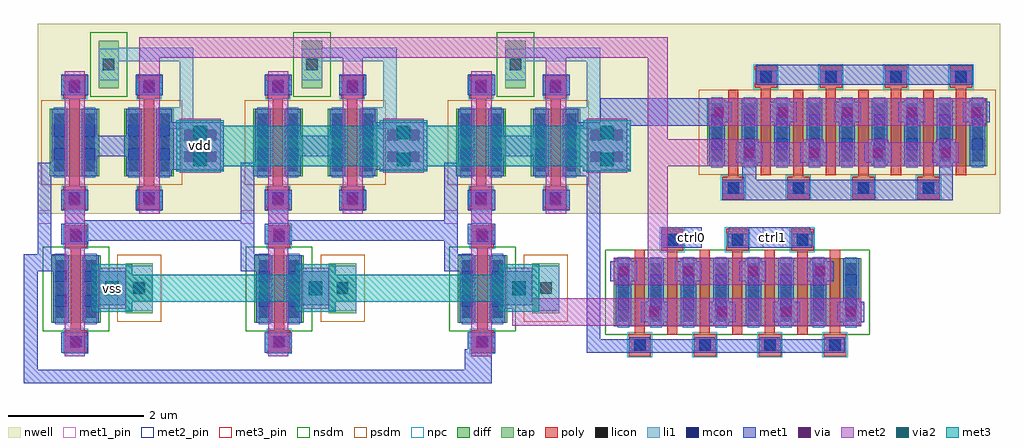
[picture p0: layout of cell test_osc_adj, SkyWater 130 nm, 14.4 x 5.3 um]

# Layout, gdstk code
import gdstk
lib = gdstk.Library(unit=1e-6, precision=1e-09)
def R(c, l, rs):  # rectangles x0, y0, x1, y1
    for r in rs: c.add(gdstk.rectangle(r[:2], r[2:], *l))
def A(c, l, x, y, w, h, nx, ny, dx, dy):  # array of equal rectangles
    R(c, l, [(x+i*dx, y+j*dy, x+i*dx+w, y+j*dy+h) for i in range(nx) for j in range(ny)])
nwell = (64, 20)
diff = (65, 20)
tap = (65, 44)
poly = (66, 20)
licon = (66, 44)
li1 = (67, 20)
mcon = (67, 44)
met1_pin = (68, 16)
met1 = (68, 20)
via = (68, 44)
met2_pin = (69, 16)
met2 = (69, 20)
via2 = (69, 44)
met3_pin = (70, 16)
met3 = (70, 20)
nsdm = (93, 44)
psdm = (94, 20)
npc = (95, 20)

sky130_fd_pr__pfet_01v8_ = lib.new_cell('sky130_fd_pr__pfet_01v8_RXQGT8')
R(sky130_fd_pr__pfet_01v8_, nwell, [(-2.245,-1,1.765,-0.81), (-2.245,-0.81,2.245,0.81), (-1.765,0.81,2.245,1)])
R(sky130_fd_pr__pfet_01v8_, diff, [(-2.065,-0.5,2.065,0.5)])
A(sky130_fd_pr__pfet_01v8_, poly, -1.845, -0.985, 0.33, 0.33, 4, 1, 0.96, 0)
A(sky130_fd_pr__pfet_01v8_, poly, -1.755, -0.655, 0.15, 1.285, 4, 1, 0.96, 0)
A(sky130_fd_pr__pfet_01v8_, poly, -1.275, -0.63, 0.15, 1.285, 4, 1, 0.96, 0)
A(sky130_fd_pr__pfet_01v8_, poly, -1.365, 0.655, 0.33, 0.33, 4, 1, 0.96, 0)
A(sky130_fd_pr__pfet_01v8_, licon, -1.765, -0.905, 0.17, 0.17, 4, 1, 0.96, 0)
A(sky130_fd_pr__pfet_01v8_, licon, -2.005, -0.425, 0.17, 0.17, 9, 3, 0.48, 0.34)
A(sky130_fd_pr__pfet_01v8_, licon, -1.285, 0.735, 0.17, 0.17, 4, 1, 0.96, 0)
A(sky130_fd_pr__pfet_01v8_, li1, -1.845, -0.905, 0.33, 0.17, 4, 1, 0.96, 0)
A(sky130_fd_pr__pfet_01v8_, li1, -2.005, -0.52, 0.17, 1.04, 9, 1, 0.48, 0)
A(sky130_fd_pr__pfet_01v8_, li1, -1.365, 0.735, 0.33, 0.17, 4, 1, 0.96, 0)
A(sky130_fd_pr__pfet_01v8_, mcon, -1.765, -0.905, 0.17, 0.17, 4, 1, 0.96, 0)
A(sky130_fd_pr__pfet_01v8_, mcon, -2.005, -0.265, 0.17, 0.17, 9, 2, 0.48, 0.36)
A(sky130_fd_pr__pfet_01v8_, mcon, -1.285, 0.735, 0.17, 0.17, 4, 1, 0.96, 0)
A(sky130_fd_pr__pfet_01v8_, met1, -1.825, -0.935, 0.29, 0.23, 4, 1, 0.96, 0)
A(sky130_fd_pr__pfet_01v8_, met1, -2.035, -0.5, 0.23, 1, 9, 1, 0.48, 0)
A(sky130_fd_pr__pfet_01v8_, met1, -1.345, 0.705, 0.29, 0.23, 4, 1, 0.96, 0)
R(sky130_fd_pr__pfet_01v8_, psdm, [(-2.19,-0.625,2.19,0.625)])
A(sky130_fd_pr__pfet_01v8_, npc, -1.865, -1.005, 0.37, 0.37, 4, 1, 0.96, 0)
A(sky130_fd_pr__pfet_01v8_, npc, -1.385, 0.635, 0.37, 0.37, 4, 1, 0.96, 0)

sky130_fd_pr__nfet_01v8_ = lib.new_cell('sky130_fd_pr__nfet_01v8_PE32AP')
R(sky130_fd_pr__nfet_01v8_, diff, [(-1.825,-0.5,1.825,0.5)])
A(sky130_fd_pr__nfet_01v8_, poly, -1.605, -0.94, 0.33, 0.33, 4, 1, 0.96, 0)
A(sky130_fd_pr__nfet_01v8_, poly, -1.035, -0.63, 0.15, 1.24, 3, 1, 0.96, 0)
A(sky130_fd_pr__nfet_01v8_, poly, -1.515, -0.61, 0.15, 1.24, 4, 1, 0.96, 0)
A(sky130_fd_pr__nfet_01v8_, poly, -1.125, 0.61, 0.33, 0.33, 3, 1, 0.96, 0)
A(sky130_fd_pr__nfet_01v8_, licon, -1.525, -0.86, 0.17, 0.17, 4, 1, 0.96, 0)
A(sky130_fd_pr__nfet_01v8_, licon, -1.765, -0.425, 0.17, 0.17, 8, 3, 0.48, 0.34)
A(sky130_fd_pr__nfet_01v8_, licon, -1.045, 0.69, 0.17, 0.17, 3, 1, 0.96, 0)
A(sky130_fd_pr__nfet_01v8_, li1, -1.605, -0.86, 0.33, 0.17, 4, 1, 0.96, 0)
A(sky130_fd_pr__nfet_01v8_, li1, -1.765, -0.52, 0.17, 1.04, 8, 1, 0.48, 0)
A(sky130_fd_pr__nfet_01v8_, li1, -1.125, 0.69, 0.33, 0.17, 3, 1, 0.96, 0)
A(sky130_fd_pr__nfet_01v8_, mcon, -1.525, -0.86, 0.17, 0.17, 4, 1, 0.96, 0)
A(sky130_fd_pr__nfet_01v8_, mcon, -1.765, -0.265, 0.17, 0.17, 8, 2, 0.48, 0.36)
A(sky130_fd_pr__nfet_01v8_, mcon, -1.045, 0.69, 0.17, 0.17, 3, 1, 0.96, 0)
A(sky130_fd_pr__nfet_01v8_, met1, -1.585, -0.89, 0.29, 0.23, 4, 1, 0.96, 0)
A(sky130_fd_pr__nfet_01v8_, met1, -1.795, -0.5, 0.23, 1, 8, 1, 0.48, 0)
A(sky130_fd_pr__nfet_01v8_, met1, -1.105, 0.66, 0.29, 0.23, 3, 1, 0.96, 0)
R(sky130_fd_pr__nfet_01v8_, nsdm, [(-1.95,-0.625,1.95,0.625)])
A(sky130_fd_pr__nfet_01v8_, npc, -1.625, -0.96, 0.37, 0.37, 4, 1, 0.96, 0)
A(sky130_fd_pr__nfet_01v8_, npc, -1.145, 0.59, 0.37, 0.37, 3, 1, 0.96, 0)

c_sky130_fd_pr__nfet_01v8_ = lib.new_cell('sky130_fd_pr__nfet_01v8_DM32AP')
R(c_sky130_fd_pr__nfet_01v8_, diff, [(-0.365,-0.5,0.365,0.5)])
R(c_sky130_fd_pr__nfet_01v8_, poly, [(-0.165,-0.94,0.165,-0.61), (-0.075,-0.61,0.075,0.61), (-0.165,0.61,0.165,0.94)])
A(c_sky130_fd_pr__nfet_01v8_, licon, -0.305, -0.425, 0.17, 0.17, 1, 3, 0, 0.34)
A(c_sky130_fd_pr__nfet_01v8_, licon, 0.135, -0.425, 0.17, 0.17, 1, 3, 0, 0.34)
R(c_sky130_fd_pr__nfet_01v8_, licon, [(-0.085,-0.86,0.085,-0.69), (-0.085,0.69,0.085,0.86)])
R(c_sky130_fd_pr__nfet_01v8_, li1, [(-0.165,-0.86,0.165,-0.69), (-0.305,-0.52,-0.135,0.52), (0.135,-0.52,0.305,0.52), (-0.165,0.69,0.165,0.86)])
R(c_sky130_fd_pr__nfet_01v8_, mcon, [(-0.085,-0.86,0.085,-0.69), (-0.305,-0.265,-0.135,-0.095), (0.135,-0.265,0.305,-0.095), (-0.305,0.095,-0.135,0.265), (0.135,0.095,0.305,0.265), (-0.085,0.69,0.085,0.86)])
R(c_sky130_fd_pr__nfet_01v8_, met1, [(-0.145,-0.89,0.145,-0.66), (-0.335,-0.5,-0.105,0.5), (0.105,-0.5,0.335,0.5), (-0.145,0.66,0.145,0.89)])
R(c_sky130_fd_pr__nfet_01v8_, nsdm, [(-0.49,-0.625,0.49,0.625)])
R(c_sky130_fd_pr__nfet_01v8_, npc, [(-0.185,-0.96,0.185,-0.59), (-0.185,0.59,0.185,0.96)])

c_sky130_fd_pr__pfet_01v8_ = lib.new_cell('sky130_fd_pr__pfet_01v8_CW6TWB')
R(c_sky130_fd_pr__pfet_01v8_, nwell, [(-0.545,-1,0.545,1)])
R(c_sky130_fd_pr__pfet_01v8_, diff, [(-0.365,-0.5,0.365,0.5)])
R(c_sky130_fd_pr__pfet_01v8_, poly, [(-0.165,-0.985,0.165,-0.655), (-0.075,-0.655,0.075,0.655), (-0.165,0.655,0.165,0.985)])
A(c_sky130_fd_pr__pfet_01v8_, licon, -0.305, -0.425, 0.17, 0.17, 1, 3, 0, 0.34)
A(c_sky130_fd_pr__pfet_01v8_, licon, 0.135, -0.425, 0.17, 0.17, 1, 3, 0, 0.34)
R(c_sky130_fd_pr__pfet_01v8_, licon, [(-0.085,-0.905,0.085,-0.735), (-0.085,0.735,0.085,0.905)])
R(c_sky130_fd_pr__pfet_01v8_, li1, [(-0.165,-0.905,0.165,-0.735), (-0.305,-0.52,-0.135,0.52), (0.135,-0.52,0.305,0.52), (-0.165,0.735,0.165,0.905)])
R(c_sky130_fd_pr__pfet_01v8_, mcon, [(-0.085,-0.905,0.085,-0.735), (-0.305,-0.265,-0.135,-0.095), (0.135,-0.265,0.305,-0.095), (-0.305,0.095,-0.135,0.265), (0.135,0.095,0.305,0.265), (-0.085,0.735,0.085,0.905)])
R(c_sky130_fd_pr__pfet_01v8_, met1, [(-0.145,-0.935,0.145,-0.705), (-0.335,-0.5,-0.105,0.5), (0.105,-0.5,0.335,0.5), (-0.145,0.705,0.145,0.935)])
R(c_sky130_fd_pr__pfet_01v8_, psdm, [(-0.49,-0.625,0.49,0.625)])
R(c_sky130_fd_pr__pfet_01v8_, npc, [(-0.185,-1.005,0.185,-0.635), (-0.185,0.635,0.185,1.005)])

test_inverter_adj = lib.new_cell('test_inverter_adj')
R(test_inverter_adj, nwell, [(3.6,0.7,3.7,2.7), (4.7,0.7,4.8,2.7), (2.6,2.7,4.8,3.4)])
R(test_inverter_adj, tap, [(3.9,-0.82,4.3,-0.08), (3.5,2.5,3.8,3.2)])
R(test_inverter_adj, licon, [(4.015,-0.535,4.185,-0.365), (3.565,2.765,3.735,2.935)])
R(test_inverter_adj, li1, [(3.9,-0.78,4.3,-0.7), (3.4,-0.7,4.3,-0.2), (3.9,-0.2,4.3,-0.12), (4.5,1.9,4.9,2.2), (4.53,2.2,4.9,2.22), (4.7,2.22,4.9,2.9), (3.5,2.62,3.8,2.9), (3.5,2.9,4.9,3.08), (3.8,3.08,4.9,3.1)])
R(test_inverter_adj, met1_pin, [(2.6,0.5,2.8,0.7)])
R(test_inverter_adj, met1, [(2.95,-1.4,3.35,-1.1), (3.4,-0.7,3.9,-0.2), (2.6,-0.2,3,0.05), (2.6,0.05,2.8,1.2), (2.95,0.2,3.35,0.5), (3,0.5,3.3,0.7), (2.95,0.7,3.35,1), (4.05,0.7,4.45,1), (2.6,1.2,3,1.4), (4.5,1.3,5.35,1.9), (3.4,1.5,4.1,1.8), (4.4,1.9,5.35,2), (4.4,2,4.5,2.1), (2.95,2.4,3.35,2.7), (4.05,2.4,4.45,2.7)])
R(test_inverter_adj, via, [(3.075,-1.325,3.225,-1.175), (3.075,0.275,3.225,0.425), (3.075,0.775,3.225,0.925), (4.175,0.775,4.325,0.925), (4.765,1.415,4.915,1.565), (5.085,1.415,5.235,1.565), (4.765,1.735,4.915,1.885), (5.085,1.735,5.235,1.885), (3.075,2.475,3.225,2.625), (4.175,2.475,4.325,2.625)])
R(test_inverter_adj, met2_pin, [(3,0.5,3.3,0.7), (4.1,0.7,4.4,1)])
R(test_inverter_adj, met2, [(3,-1.45,3.3,2.75), (3.5,-0.75,3.9,-0.15), (4.1,0.65,4.4,2.75), (4.7,1.25,5.3,2.05)])
R(test_inverter_adj, via2, [(3.6,-0.55,3.8,-0.35), (4.9,1.35,5.1,1.55), (4.9,1.75,5.1,1.95)])
R(test_inverter_adj, met3, [(3.4,-0.8,4,-0.1), (4.65,1.275,5.35,2.025)])
R(test_inverter_adj, nsdm, [(3.375,2.375,3.925,3.325)])
R(test_inverter_adj, psdm, [(3.775,-0.945,4.425,0.045), (3.635,1.075,3.755,2.325)])
test_inverter_adj.add(gdstk.Reference(c_sky130_fd_pr__nfet_01v8_, (3.165,-0.46)))
test_inverter_adj.add(gdstk.Reference(c_sky130_fd_pr__pfet_01v8_, (4.245,1.7)))
test_inverter_adj.add(gdstk.Reference(c_sky130_fd_pr__pfet_01v8_, (3.145,1.7)))
test_inverter_adj.add(gdstk.Label('out', (2.7,0.6), layer=68, texttype=16))
test_inverter_adj.add(gdstk.Label('ctrl', (4.25,0.85), layer=69, texttype=16))
test_inverter_adj.add(gdstk.Label('in', (3.15,0.6), layer=69, texttype=16))

test_osc_adj = lib.new_cell('test_osc_adj')
R(test_osc_adj, nwell, [(0.1,2.1,14.3,4.9)])
R(test_osc_adj, met1_pin, [(9.6,1.6,9.9,1.9), (10.8,1.6,11.1,1.9)])
A(test_osc_adj, met1, 10, 0.5, 0.4, 0.3, 3, 1, 0.95, 0)
A(test_osc_adj, met1, 8.55, 1.1, 0.4, 0.3, 3, 1, 0.95, 0)
A(test_osc_adj, met1, 10.4, 2.85, 0.4, 0.3, 3, 1, 0.95, 0)
A(test_osc_adj, met1, 10.9, 3.45, 0.4, 0.3, 4, 1, 0.95, 0)
R(test_osc_adj, met1, [(-0.1,-0.4,6.8,-0.2), (-0.1,-0.2,0.1,1.5), (6.4,-0.2,6.8,0.1), (8.2,0.05,11.95,0.25), (8.2,0.25,8.4,2.65), (9,0.5,9.4,0.8), (11.45,1.1,11.85,1.4), (9.3,1.6,9.9,1.9), (10.3,1.6,11.5,1.9), (0.7,1.7,3.3,2), (3.7,1.7,6.3,2), (10.2,2.3,13.6,2.6), (10.5,2.6,10.7,2.85), (13.4,2.6,13.6,2.85), (8.05,2.65,8.4,2.75), (8.2,2.75,8.4,2.9), (13.3,2.85,13.7,3.15), (10.5,3.15,10.7,3.2), (8.4,3.4,10.2,3.45), (8.4,3.45,10.35,3.75), (8.4,3.75,10.2,3.8), (10.7,4,13.9,4.3)])
A(test_osc_adj, via, 10.125, 0.575, 0.15, 0.15, 3, 1, 0.95, 0)
A(test_osc_adj, via, 8.675, 1.175, 0.15, 0.15, 3, 1, 0.95, 0)
A(test_osc_adj, via, 10.525, 2.925, 0.15, 0.15, 3, 1, 0.95, 0)
A(test_osc_adj, via, 10.075, 3.525, 0.15, 0.15, 5, 1, 0.95, 0)
R(test_osc_adj, via, [(9.125,0.575,9.275,0.725), (11.575,1.175,11.725,1.325), (13.425,2.925,13.575,3.075)])
A(test_osc_adj, met2, 1.6, 4, 0.3, 0.4, 3, 1, 3, 0)
R(test_osc_adj, met2, [(7.1,0.45,12.25,0.85), (7.1,0.85,7.4,1.15), (8.6,1.05,11.8,1.45), (9.1,1.45,9.4,2.8), (9.1,2.8,13.7,3.15), (9.1,3.15,10.75,3.2), (11.4,3.15,11.7,3.2), (12.35,3.15,12.65,3.2), (13.35,3.15,13.65,3.2), (9.1,3.2,9.4,4.4), (10,3.4,14.1,3.8), (1.6,4.4,9.4,4.7)])
R(test_osc_adj, met3_pin, [(1.1,0.9,1.3,1.1), (2.4,3,2.6,3.2)])
R(test_osc_adj, met3, [(1,0.8,7.4,1.2), (2.2,2.8,8.7,3.4)])
test_osc_adj.add(gdstk.Reference(sky130_fd_pr__pfet_01v8_, (12.045,3.3)))
test_osc_adj.add(gdstk.Reference(sky130_fd_pr__nfet_01v8_, (10.425,0.94)))
test_osc_adj.add(gdstk.Reference(test_inverter_adj, (3.5,1.45)))
test_osc_adj.add(gdstk.Reference(test_inverter_adj, (0.5,1.45)))
test_osc_adj.add(gdstk.Reference(test_inverter_adj, (-2.5,1.45)))
test_osc_adj.add(gdstk.Label('vdd', (2.5,3.1), layer=70, texttype=16))
test_osc_adj.add(gdstk.Label('vss', (1.2,1), layer=70, texttype=16))
test_osc_adj.add(gdstk.Label('ctrl0', (9.75,1.75), layer=68, texttype=16))
test_osc_adj.add(gdstk.Label('ctrl1', (10.95,1.75), layer=68, texttype=16))

lib.write_gds('test_osc_adj.gds')
